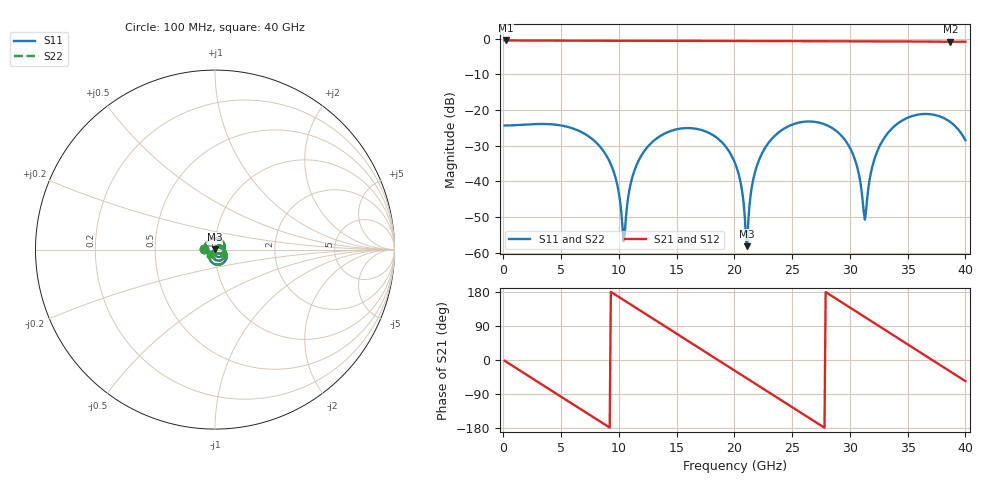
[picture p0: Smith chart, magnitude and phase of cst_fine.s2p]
! thru_ts6_L3: 2×thru, L3, 8 mm
! stackup: ThunderScope Rev5.3 6-layer (FR408HR / FR-4, from the board file)
! ports: 1, 2
! CST Studio Suite 2025.5 Release from 2025-05-30, time domain (FIT, hexahedral, PBA), 188496 mesh cells, 31 s
! mesh: {'lpw': 30.0, 'lpb': 30.0, 'minstep': 0.0, 'ratio': 20}; ports: port 1 (face); port 2 (face)
! interpolated from CST's 1001 samples to the case grid
# Hz S RI R 50
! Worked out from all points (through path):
!   400 points, 100 MHz to 40 GHz, reference 50 ohm
!   highest |S21| = -0.55 dB at 200 MHz (marker M1); lowest = -0.9 dB at 38.7 GHz (marker M2)
!   group delay of S21, straight-line fit = 53.9 ps
!   lowest |S11| = -58.2 dB at 21.1 GHz (marker M3), VSWR 1.00, Z = 50 + j0.114 ohm
!   |S11| at or under -10 dB: start of sweep to end of sweep
!   |S22| runs from -58.2 to -21.1 dB; largest |S21 - S12| = 5e-07
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1e8  -0.0604 0.00345  0.9384 -0.0319  0.9384 -0.0319  -0.0604 0.00345
2e8  -0.0601 0.0069  0.9368 -0.0638  0.9368 -0.0638  -0.0601 0.0069
3.7e9  0.0251 0.0583  0.2894 -0.8885  0.2894 -0.8885  0.0251 0.0583
6.8e9  0.0475 -0.01  -0.6212 -0.6927  -0.6212 -0.6927  0.0475 -0.01
9.4e9  0.00443 -0.0152  -0.9294 0.0349  -0.9294 0.0349  0.00443 -0.0152
1.04e10  -0.0014 -0.000396  -0.8652 0.3413  -0.8652 0.3413  -0.0014 -0.000396
1.13e10  0.00307 0.0132  -0.7228 0.585  -0.7228 0.585  0.00307 0.0132
1.34e10  0.0359 0.0205  -0.1656 0.9132  -0.1656 0.9132  0.0359 0.0205
1.71e10  0.037 -0.0374  0.8106 0.4434  0.8106 0.4434  0.037 -0.0374
2.01e10  -0.005 -0.0164  0.8044 -0.4533  0.8044 -0.4533  -0.005 -0.0164
2.07e10  -0.00375 -0.00554  0.6963 -0.6062  0.6963 -0.6062  -0.00375 -0.00554
2.11e10  -0.000465 0.00114  0.6079 -0.6947  0.6079 -0.6947  -0.000465 0.00114
2.15e10  0.00459 0.0068  0.5083 -0.7704  0.5083 -0.7704  0.00459 0.0068
2.24e10  0.0207 0.0137  0.253 -0.8868  0.253 -0.8868  0.0207 0.0137
2.67e10  0.041 -0.0551  -0.8457 -0.3507  -0.8457 -0.3507  0.041 -0.0551
3e10  -0.0157 -0.025  -0.686 0.6044  -0.686 0.6044  -0.0157 -0.025
3.13e10  -0.00163 0.00241  -0.3621 0.8396  -0.3621 0.8396  -0.00163 0.00241
3.2e10  0.0146 0.00963  -0.1537 0.9011  -0.1537 0.9011  0.0146 0.00963
3.34e10  0.0499 -0.000561  0.2765 0.8694  0.2765 0.8694  0.0499 -0.000561
3.62e10  0.0457 -0.0743  0.8613 0.2779  0.8613 0.2779  0.0457 -0.0743
3.87e10  -0.024 -0.0631  0.777 -0.4572  0.777 -0.4572  -0.024 -0.0631
4e10  -0.0296 -0.0232  0.5088 -0.7454  0.5088 -0.7454  -0.0296 -0.0232
